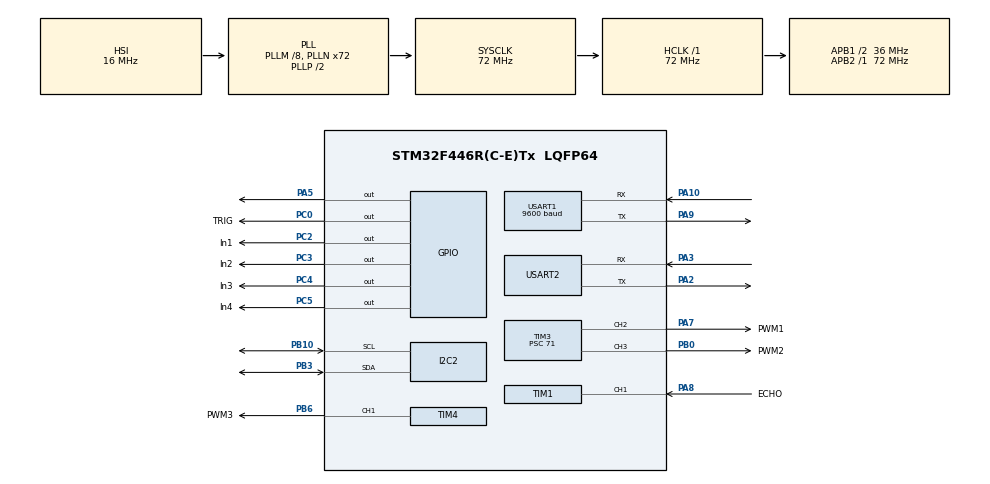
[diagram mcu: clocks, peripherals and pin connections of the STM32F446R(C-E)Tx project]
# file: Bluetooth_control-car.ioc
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I2C2.I2C_Mode=I2C_Fast
Mcu.Family=STM32F4
Mcu.Name=STM32F446R(C-E)Tx
Mcu.Package=LQFP64
NVIC.PriorityGroup=NVIC_PRIORITYGROUP_4
NVIC.TIM1_CC_IRQn=true\:0\:0\:false\:false\:true\:true\:true\:true
NVIC.USART1_IRQn=true\:0\:0\:false\:false\:true\:true\:true\:true
PA10.Mode=Asynchronous
PA10.Signal=USART1_RX
PA13.Mode=Serial_Wire
PA13.Signal=SYS_JTMS-SWDIO
PA14.Mode=Serial_Wire
PA14.Signal=SYS_JTCK-SWCLK
PA2.Mode=Asynchronous
PA2.Signal=USART2_TX
PA3.Mode=Asynchronous
PA3.Signal=USART2_RX
PA5.Signal=GPIO_Output
PA7.GPIO_Label=PWM1
PA7.Signal=S_TIM3_CH2
PA8.GPIO_Label=ECHO
PA8.Signal=S_TIM1_CH1
PA9.Mode=Asynchronous
PA9.Signal=USART1_TX
PB0.GPIO_Label=PWM2
PB0.Signal=S_TIM3_CH3
PB10.Mode=I2C
PB10.Signal=I2C2_SCL
PB3.Mode=I2C
PB3.Signal=I2C2_SDA
PB6.GPIO_Label=PWM3
PB6.Signal=S_TIM4_CH1
PC0.GPIO_Label=TRIG
PC0.Signal=GPIO_Output
PC2.GPIO_Label=In1
PC2.Signal=GPIO_Output
PC3.GPIO_Label=In2
PC3.Signal=GPIO_Output
PC4.GPIO_Label=In3
PC4.Signal=GPIO_Output
PC5.GPIO_Label=In4
PC5.Signal=GPIO_Output
PH0-OSC_IN.Mode=HSE-External-Oscillator
PH0-OSC_IN.Signal=RCC_OSC_IN
PH1-OSC_OUT.Mode=HSE-External-Oscillator
PH1-OSC_OUT.Signal=RCC_OSC_OUT
ProjectManager.HeapSize=0x200
ProjectManager.StackSize=0x400
ProjectManager.TargetToolchain=STM32CubeIDE
RCC.AHBFreq_Value=72000000
RCC.APB1CLKDivider=RCC_HCLK_DIV2
RCC.APB1Freq_Value=36000000
RCC.APB1TimFreq_Value=72000000
RCC.APB2Freq_Value=72000000
RCC.APB2TimFreq_Value=72000000
RCC.CortexFreq_Value=72000000
RCC.HCLKFreq_Value=72000000
RCC.PLLM=8
RCC.PLLN=72
RCC.SYSCLKFreq_VALUE=72000000
RCC.SYSCLKSource=RCC_SYSCLKSOURCE_PLLCLK
RCC.USBFreq_Value=72000000
RCC.VCOOutputFreq_Value=144000000
SH.S_TIM1_CH1.0=TIM1_CH1,Input_Capture1_from_TI1
SH.S_TIM3_CH2.0=TIM3_CH2,PWM Generation2 CH2
SH.S_TIM3_CH3.0=TIM3_CH3,PWM Generation3 CH3
SH.S_TIM4_CH1.0=TIM4_CH1,PWM Generation1 CH1
TIM1.Channel-Input_Capture1_from_TI1=TIM_CHANNEL_1
TIM1.Prescaler=71
TIM3.Channel-PWM\ Generation2\ CH2=TIM_CHANNEL_2
TIM3.Channel-PWM\ Generation3\ CH3=TIM_CHANNEL_3
TIM3.Period=999
TIM3.Prescaler=71
TIM4.Channel-PWM\ Generation1\ CH1=TIM_CHANNEL_1
TIM4.Period=19999
TIM4.Prescaler=71
USART1.BaudRate=9600
USART1.VirtualMode=VM_ASYNC
USART2.VirtualMode=VM_ASYNC
VP_TIM4_VS_ClockSourceINT.Mode=Internal
board=custom

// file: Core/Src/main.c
/* USER CODE BEGIN Header */
/**
  ******************************************************************************
  * @file           : main.c
  * @brief          : Main program body
  ******************************************************************************
  * @attention
  *
  * Copyright (c) 2026 STMicroelectronics.
  * All rights reserved.
  *
  * This software is licensed under terms that can be found in the LICENSE file
  * in the root directory of this software component.
  * If no LICENSE file comes with this software, it is provided AS-IS.
  *
  ******************************************************************************
  */
/* USER CODE END Header */
#include "main.h"

/* USER CODE BEGIN Includes */
#include <string.h>
#include <stdio.h>
#include "motor.h"
#include "servo.h"
#include "hc_sr04.h"
#include "bluetooth.h"
#include "ssd1306.h"
#include "ssd1306_fonts.h"
/* USER CODE END Includes */

I2C_HandleTypeDef hi2c2;

TIM_HandleTypeDef htim1;
TIM_HandleTypeDef htim3;
TIM_HandleTypeDef htim4;

UART_HandleTypeDef huart1;
UART_HandleTypeDef huart2;

/* USER CODE BEGIN PV */
#ifdef __GNUC__
#define PUTCHAR_PROTOTYPE int __io_putchar(int ch)
#else
#define PUTCHAR_PROTOTYPE int fputc(int ch, FILE *f)
#endif

PUTCHAR_PROTOTYPE
{
  HAL_UART_Transmit(&huart2, (uint8_t *)&ch, 1, HAL_MAX_DELAY);
  return ch;
}

int _write(int file, char *ptr, int len)
{
  HAL_UART_Transmit(&huart2, (uint8_t *)ptr, len, HAL_MAX_DELAY);
  return len;
}
/* USER CODE END PV */

void SystemClock_Config(void);
static void MX_GPIO_Init(void);
static void MX_TIM3_Init(void);
static void MX_TIM4_Init(void);
static void MX_TIM1_Init(void);
static void MX_USART2_UART_Init(void);
static void MX_USART1_UART_Init(void);
static void MX_I2C2_Init(void);
/* USER CODE BEGIN PFP */
extern uint32_t IC_Val1;
extern uint32_t IC_Val2;
extern uint32_t Difference;
uint16_t Distance = 0;
extern uint8_t Is_First_Captured;
extern void Obstacle_Avoiding(void);

/* USER CODE END PFP */

int main(void)
{

  /* MCU Configuration--------------------------------------------------------*/

  /* Reset of all peripherals, Initializes the Flash interface and the Systick. */
  HAL_Init();

  /* Configure the system clock */
  SystemClock_Config();

  /* Initialize all configured peripherals */
  MX_GPIO_Init();
  MX_TIM3_Init();
  MX_TIM4_Init();
  MX_TIM1_Init();
  MX_USART2_UART_Init();
  MX_USART1_UART_Init();
  MX_I2C2_Init();
  /* USER CODE BEGIN 2 */
  HAL_TIM_PWM_Start(&htim3, TIM_CHANNEL_2);
  HAL_TIM_PWM_Start(&htim3, TIM_CHANNEL_3);
  HAL_TIM_PWM_Start(&htim4, TIM_CHANNEL_1);
  HC_SR04_Init();
  Bluetooth_Init();
  printf("\r\n=== HC-SR04 Ultrasonic Sensor Test ===\r\n");
  printf("System initialized\r\n");
  printf("Timer running at 1 MHz (1 us resolution)\r\n\r\n");
  char msg[] = "UART Test 123\r\n";
  HAL_UART_Transmit(&huart2, (uint8_t*)msg, strlen(msg), HAL_MAX_DELAY); //sends data out through UART

  HAL_Delay(1000);

  ssd1306_Init();
  ssd1306_Fill(Black);

  ssd1306_UpdateScreen();
  HAL_Delay(1000);

  /* USER CODE END 2 */

  /* Infinite loop */
  while (1)
  {
	  HC_SR04_Read();
	  HAL_Delay(100);

	  char buf[16];//ssd_writestring only accept string
	  sprintf(buf, "%u cm", Distance);// converts a number into a string: 25 cm

	  ssd1306_Fill(Black);
	  ssd1306_SetCursor(2,0);
	  ssd1306_WriteString("HC-SR04 Sensor", Font_7x10, White);
	  ssd1306_SetCursor(2,20);
	  ssd1306_WriteString("Dist:", Font_11x18, White);
	  ssd1306_SetCursor(62, 20);
	  ssd1306_WriteString(buf, Font_11x18, White);
	  ssd1306_SetCursor(2, 50);
	  ssd1306_WriteString("Status: OK", Font_6x8, White);
	  ssd1306_UpdateScreen();

	  Obstacle_Avoiding();
	  HAL_Delay(100);

	}
}

void SystemClock_Config(void)
{
  RCC_OscInitTypeDef RCC_OscInitStruct = {0};
  RCC_ClkInitTypeDef RCC_ClkInitStruct = {0};

  /** Configure the main internal regulator output voltage
  */
  __HAL_RCC_PWR_CLK_ENABLE();
  __HAL_PWR_VOLTAGESCALING_CONFIG(PWR_REGULATOR_VOLTAGE_SCALE3);

  /** Initializes the RCC Oscillators according to the specified parameters
  * in the RCC_OscInitTypeDef structure.
  */
  RCC_OscInitStruct.OscillatorType = RCC_OSCILLATORTYPE_HSI;
  RCC_OscInitStruct.HSIState = RCC_HSI_ON;
  RCC_OscInitStruct.HSICalibrationValue = RCC_HSICALIBRATION_DEFAULT;
  RCC_OscInitStruct.PLL.PLLState = RCC_PLL_ON;
  RCC_OscInitStruct.PLL.PLLSource = RCC_PLLSOURCE_HSI;
  RCC_OscInitStruct.PLL.PLLM = 8;
  RCC_OscInitStruct.PLL.PLLN = 72;
  RCC_OscInitStruct.PLL.PLLP = RCC_PLLP_DIV2;
  RCC_OscInitStruct.PLL.PLLQ = 2;
  RCC_OscInitStruct.PLL.PLLR = 2;
  if (HAL_RCC_OscConfig(&RCC_OscInitStruct) != HAL_OK)
  {
    Error_Handler();
  }

  /** Initializes the CPU, AHB and APB buses clocks
  */
  RCC_ClkInitStruct.ClockType = RCC_CLOCKTYPE_HCLK|RCC_CLOCKTYPE_SYSCLK
                              |RCC_CLOCKTYPE_PCLK1|RCC_CLOCKTYPE_PCLK2;
  RCC_ClkInitStruct.SYSCLKSource = RCC_SYSCLKSOURCE_PLLCLK;
  RCC_ClkInitStruct.AHBCLKDivider = RCC_SYSCLK_DIV1;
  RCC_ClkInitStruct.APB1CLKDivider = RCC_HCLK_DIV2;
  RCC_ClkInitStruct.APB2CLKDivider = RCC_HCLK_DIV1;

  if (HAL_RCC_ClockConfig(&RCC_ClkInitStruct, FLASH_LATENCY_2) != HAL_OK)
  {
    Error_Handler();
  }
}

static void MX_I2C2_Init(void)
{

  hi2c2.Instance = I2C2;
  hi2c2.Init.ClockSpeed = 400000;
  hi2c2.Init.DutyCycle = I2C_DUTYCYCLE_2;
  hi2c2.Init.OwnAddress1 = 0;
  hi2c2.Init.AddressingMode = I2C_ADDRESSINGMODE_7BIT;
  hi2c2.Init.DualAddressMode = I2C_DUALADDRESS_DISABLE;
  hi2c2.Init.OwnAddress2 = 0;
  hi2c2.Init.GeneralCallMode = I2C_GENERALCALL_DISABLE;
  hi2c2.Init.NoStretchMode = I2C_NOSTRETCH_DISABLE;
  if (HAL_I2C_Init(&hi2c2) != HAL_OK)
  {
    Error_Handler();
  }

}

static void MX_TIM1_Init(void)
{

  TIM_MasterConfigTypeDef sMasterConfig = {0};
  TIM_IC_InitTypeDef sConfigIC = {0};

  htim1.Instance = TIM1;
  htim1.Init.Prescaler = 71;
  htim1.Init.CounterMode = TIM_COUNTERMODE_UP;
  htim1.Init.Period = 65535;
  htim1.Init.ClockDivision = TIM_CLOCKDIVISION_DIV1;
  htim1.Init.RepetitionCounter = 0;
  htim1.Init.AutoReloadPreload = TIM_AUTORELOAD_PRELOAD_DISABLE;
  if (HAL_TIM_IC_Init(&htim1) != HAL_OK)
  {
    Error_Handler();
  }
  sMasterConfig.MasterOutputTrigger = TIM_TRGO_RESET;
  sMasterConfig.MasterSlaveMode = TIM_MASTERSLAVEMODE_DISABLE;
  if (HAL_TIMEx_MasterConfigSynchronization(&htim1, &sMasterConfig) != HAL_OK)
  {
    Error_Handler();
  }
  sConfigIC.ICPolarity = TIM_INPUTCHANNELPOLARITY_RISING;
  sConfigIC.ICSelection = TIM_ICSELECTION_DIRECTTI;
  sConfigIC.ICPrescaler = TIM_ICPSC_DIV1;
  sConfigIC.ICFilter = 0;
  if (HAL_TIM_IC_ConfigChannel(&htim1, &sConfigIC, TIM_CHANNEL_1) != HAL_OK)
  {
    Error_Handler();
  }

}

static void MX_TIM3_Init(void)
{

  TIM_MasterConfigTypeDef sMasterConfig = {0};
  TIM_OC_InitTypeDef sConfigOC = {0};

  htim3.Instance = TIM3;
  htim3.Init.Prescaler = 71;
  htim3.Init.CounterMode = TIM_COUNTERMODE_UP;
  htim3.Init.Period = 999;
  htim3.Init.ClockDivision = TIM_CLOCKDIVISION_DIV1;
  htim3.Init.AutoReloadPreload = TIM_AUTORELOAD_PRELOAD_DISABLE;
  if (HAL_TIM_PWM_Init(&htim3) != HAL_OK)
  {
    Error_Handler();
  }
  sMasterConfig.MasterOutputTrigger = TIM_TRGO_RESET;
  sMasterConfig.MasterSlaveMode = TIM_MASTERSLAVEMODE_DISABLE;
  if (HAL_TIMEx_MasterConfigSynchronization(&htim3, &sMasterConfig) != HAL_OK)
  {
    Error_Handler();
  }
  sConfigOC.OCMode = TIM_OCMODE_PWM1;
  sConfigOC.Pulse = 0;
  sConfigOC.OCPolarity = TIM_OCPOLARITY_HIGH;
  sConfigOC.OCFastMode = TIM_OCFAST_DISABLE;
  if (HAL_TIM_PWM_ConfigChannel(&htim3, &sConfigOC, TIM_CHANNEL_2) != HAL_OK)
  {
    Error_Handler();
  }
  if (HAL_TIM_PWM_ConfigChannel(&htim3, &sConfigOC, TIM_CHANNEL_3) != HAL_OK)
  {
    Error_Handler();
  }
  HAL_TIM_MspPostInit(&htim3);

}

static void MX_TIM4_Init(void)
{

  TIM_ClockConfigTypeDef sClockSourceConfig = {0};
  TIM_MasterConfigTypeDef sMasterConfig = {0};
  TIM_OC_InitTypeDef sConfigOC = {0};

  htim4.Instance = TIM4;
  htim4.Init.Prescaler = 71;
  htim4.Init.CounterMode = TIM_COUNTERMODE_UP;
  htim4.Init.Period = 19999;
  htim4.Init.ClockDivision = TIM_CLOCKDIVISION_DIV1;
  htim4.Init.AutoReloadPreload = TIM_AUTORELOAD_PRELOAD_DISABLE;
  if (HAL_TIM_Base_Init(&htim4) != HAL_OK)
  {
    Error_Handler();
  }
  sClockSourceConfig.ClockSource = TIM_CLOCKSOURCE_INTERNAL;
  if (HAL_TIM_ConfigClockSource(&htim4, &sClockSourceConfig) != HAL_OK)
  {
    Error_Handler();
  }
  if (HAL_TIM_PWM_Init(&htim4) != HAL_OK)
  {
    Error_Handler();
  }
  sMasterConfig.MasterOutputTrigger = TIM_TRGO_RESET;
  sMasterConfig.MasterSlaveMode = TIM_MASTERSLAVEMODE_DISABLE;
  if (HAL_TIMEx_MasterConfigSynchronization(&htim4, &sMasterConfig) != HAL_OK)
  {
    Error_Handler();
  }
  sConfigOC.OCMode = TIM_OCMODE_PWM1;
  sConfigOC.Pulse = 0;
  sConfigOC.OCPolarity = TIM_OCPOLARITY_HIGH;
  sConfigOC.OCFastMode = TIM_OCFAST_DISABLE;
  if (HAL_TIM_PWM_ConfigChannel(&htim4, &sConfigOC, TIM_CHANNEL_1) != HAL_OK)
  {
    Error_Handler();
  }
  HAL_TIM_MspPostInit(&htim4);

}

static void MX_USART1_UART_Init(void)
{

  huart1.Instance = USART1;
  huart1.Init.BaudRate = 9600;
  huart1.Init.WordLength = UART_WORDLENGTH_8B;
  huart1.Init.StopBits = UART_STOPBITS_1;
  huart1.Init.Parity = UART_PARITY_NONE;
  huart1.Init.Mode = UART_MODE_TX_RX;
  huart1.Init.HwFlowCtl = UART_HWCONTROL_NONE;
  huart1.Init.OverSampling = UART_OVERSAMPLING_16;
  if (HAL_UART_Init(&huart1) != HAL_OK)
  {
    Error_Handler();
  }

}

static void MX_USART2_UART_Init(void)
{

  huart2.Instance = USART2;
  huart2.Init.BaudRate = 115200;
  huart2.Init.WordLength = UART_WORDLENGTH_8B;
  huart2.Init.StopBits = UART_STOPBITS_1;
  huart2.Init.Parity = UART_PARITY_NONE;
  huart2.Init.Mode = UART_MODE_TX_RX;
  huart2.Init.HwFlowCtl = UART_HWCONTROL_NONE;
  huart2.Init.OverSampling = UART_OVERSAMPLING_16;
  if (HAL_UART_Init(&huart2) != HAL_OK)
  {
    Error_Handler();
  }

}

static void MX_GPIO_Init(void)
{
  GPIO_InitTypeDef GPIO_InitStruct = {0};

  /* GPIO Ports Clock Enable */
  __HAL_RCC_GPIOH_CLK_ENABLE();
  __HAL_RCC_GPIOC_CLK_ENABLE();
  __HAL_RCC_GPIOA_CLK_ENABLE();
  __HAL_RCC_GPIOB_CLK_ENABLE();

  /*Configure GPIO pin Output Level */
  HAL_GPIO_WritePin(GPIOC, TRIG_Pin|In1_Pin|In2_Pin|In3_Pin
                          |In4_Pin, GPIO_PIN_RESET);

  /*Configure GPIO pin Output Level */
  HAL_GPIO_WritePin(GPIOA, GPIO_PIN_5, GPIO_PIN_RESET);

  /*Configure GPIO pins : TRIG_Pin In1_Pin In2_Pin In3_Pin
                           In4_Pin */
  GPIO_InitStruct.Pin = TRIG_Pin|In1_Pin|In2_Pin|In3_Pin
                          |In4_Pin;
  GPIO_InitStruct.Mode = GPIO_MODE_OUTPUT_PP;
  GPIO_InitStruct.Pull = GPIO_NOPULL;
  GPIO_InitStruct.Speed = GPIO_SPEED_FREQ_LOW;
  HAL_GPIO_Init(GPIOC, &GPIO_InitStruct);

  /*Configure GPIO pin : PA5 */
  GPIO_InitStruct.Pin = GPIO_PIN_5;
  GPIO_InitStruct.Mode = GPIO_MODE_OUTPUT_PP;
  GPIO_InitStruct.Pull = GPIO_NOPULL;
  GPIO_InitStruct.Speed = GPIO_SPEED_FREQ_LOW;
  HAL_GPIO_Init(GPIOA, &GPIO_InitStruct);

}

void Error_Handler(void)
{
  __disable_irq();
  while (1)
  {
  }
}
